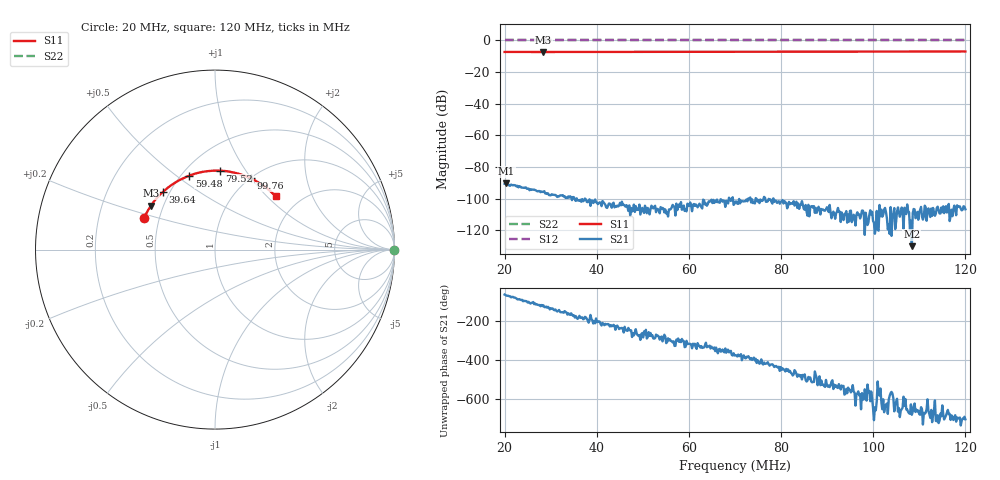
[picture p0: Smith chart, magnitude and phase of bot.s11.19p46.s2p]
! Anritsu VNA Master:  Model: MS2036C/10/77
! SN:  1601066
! /card0/usr/bot.s11.19p46.s2p
! Existing Calibration Information:
! TYPE:  Current Settings,  Active Cal Settings
! TIME:  05/23/2018 11:48:39 AM,  05/23/2018 11:36:58 AM
! INTERNAL TEMP:  48.3 C,  48.8 C
! # POINTS:  500,  500
! START FREQ:  20.000 MHz,  20.000 MHz
! STOP FREQ:  120.000 MHz,  120.000 MHz
! SOURCE POWER:  High,  High
! IFBW:  50 Hz,  50 Hz
! AVG FACTOR:  1 ,  1
! REF PLANE 1:  0 mm,  0 mm
! REF PLANE 2:  0 mm,  0 mm
! CAL TYPE:  Full S11,  Full S11
! CAL METHOD:  SOLT,  SOLT
! CAL LINE TYPE:  Coax,  Coax
! DUT PORT 1:  K-Conn(M),  K-Conn(M)
! DUT PORT 2:  K-Conn(M),  K-Conn(M)
! CAL STATUS:  OK: Accuracy High,  --
# GHZ S DB R 50.0
! FREQ.GHZ  S11DB  S11A  S21DB  S21A  S12DB  S12A  S22DB  S22A
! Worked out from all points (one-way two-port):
!   500 points, 20 MHz to 120 MHz, reference 50 ohm
!   highest |S21| = -90.38 dB at 20.4 MHz (marker M1); lowest = -130.1 dB at 108.4 MHz (marker M2)
!   lowest |S11| = -7.3 dB at 28.42 MHz (marker M3), VSWR 2.52, Z = 21.4 + j12.8 ohm
!   |S11| at or under -10 dB: nowhere
!   |S22| runs from 0.0 to 0.0 dB; largest |S21 - S12| = 1
!   S11 on the Smith chart (normalised r, x): 20 MHz: 0.41, +0.18; 39.64 MHz: 0.46, +0.36; 59.48 MHz: 0.55, +0.56; 79.52 MHz: 0.71, +0.77; 99.76 MHz: 1.00, +0.99; 120 MHz: 1.52, +1.13
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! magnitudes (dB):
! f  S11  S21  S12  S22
! 20 MHz  -7.3  -90.6  0.0  0.0
! 20.4 MHz  -7.3  -90.4  0.0  0.0
! 28.42 MHz  -7.3  -95.8  0.0  0.0
! 30.62 MHz  -7.3  -97.5  0.0  0.0
! 31.62 MHz  -7.3  -98.3  0.0  0.0
! 36.83 MHz  -7.3  -100.2  0.0  0.0
! 39.64 MHz  -7.3  -100.5  0.0  0.0
! 46.65 MHz  -7.3  -105.1  0.0  0.0
! 53.47 MHz  -7.2  -107.3  0.0  0.0
! 59.48 MHz  -7.2  -108.0  0.0  0.0
! 61.68 MHz  -7.2  -104.4  0.0  0.0
! 62.89 MHz  -7.2  -106.2  0.0  0.0
! 70.1 MHz  -7.2  -101.8  0.0  0.0
! 79.52 MHz  -7.1  -101.6  0.0  0.0
! 86.73 MHz  -7.1  -104.7  0.0  0.0
! 93.35 MHz  -7.1  -111.6  0.0  0.0
! 99.76 MHz  -7.0  -108.3  0.0  0.0
! 100.6 MHz  -7.0  -118.2  0.0  0.0
! 103.4 MHz  -7.0  -116.4  0.0  0.0
! 108.4 MHz  -7.0  -130.1  0.0  0.0
! 112.4 MHz  -7.0  -111.6  0.0  0.0
! 120 MHz  -7.0  -106.7  0.0  0.0
